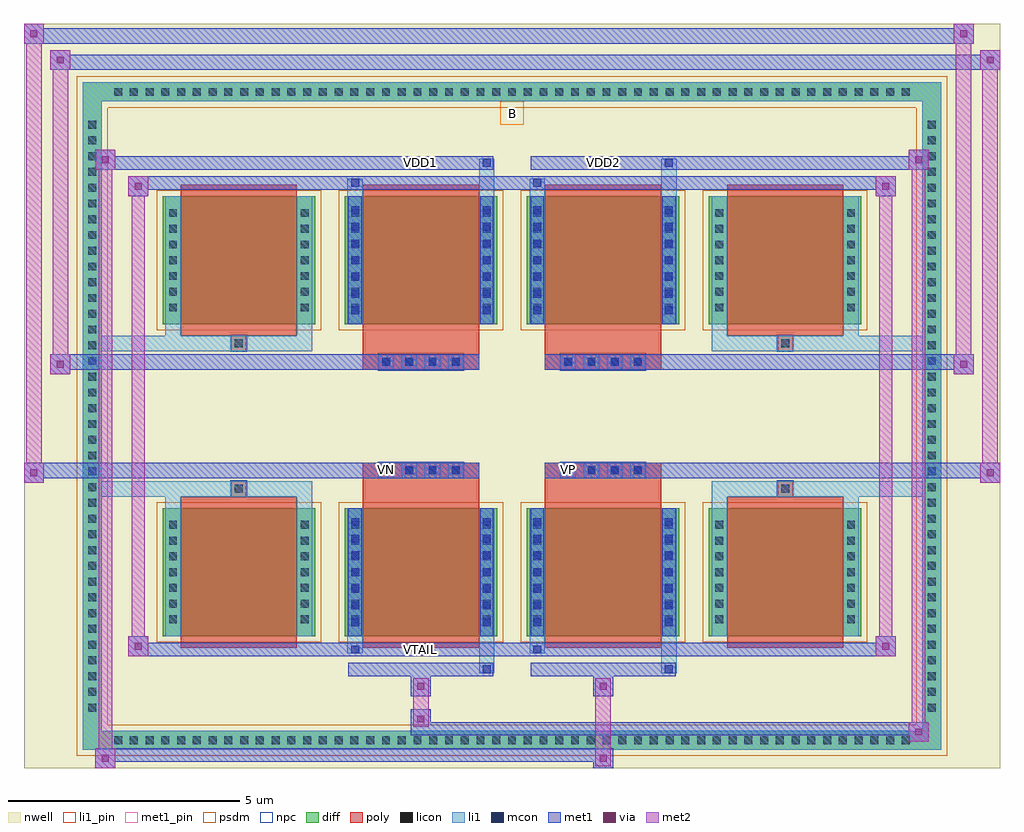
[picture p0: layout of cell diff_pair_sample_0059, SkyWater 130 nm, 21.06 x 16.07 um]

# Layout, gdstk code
import gdstk
lib = gdstk.Library(unit=1e-6, precision=5e-09)
def R(c, l, rs):  # rectangles x0, y0, x1, y1
    for r in rs: c.add(gdstk.rectangle(r[:2], r[2:], *l))
def A(c, l, x, y, w, h, nx, ny, dx, dy):  # array of equal rectangles
    R(c, l, [(x+i*dx, y+j*dy, x+i*dx+w, y+j*dy+h) for i in range(nx) for j in range(ny)])
def P(c, l, *ps):  # polygons
    for p in ps: c.add(gdstk.Polygon(p, *l))
nwell = (64, 20)
diff = (65, 20)
poly = (66, 20)
licon = (66, 44)
li1_pin = (67, 16)
li1 = (67, 20)
mcon = (67, 44)
met1_pin = (68, 16)
met1 = (68, 20)
via = (68, 44)
met2 = (69, 20)
psdm = (94, 20)
npc = (95, 20)

diff_pair_sample_0059 = lib.new_cell('diff_pair_sample_0059')
R(diff_pair_sample_0059, nwell, [(-10.53,-7.6,10.53,8.47), (-7.85,-5.79,-0.01,-0.805), (0.01,-5.79,7.85,-0.805), (-7.85,0.805,-0.01,5.79), (0.01,0.805,7.85,5.79)])
A(diff_pair_sample_0059, diff, -8.705, -7.2, 0.41, 0.41, 51, 2, 0.34, 13.99)
A(diff_pair_sample_0059, diff, -9.26, -6.495, 0.41, 0.41, 1, 38, 0, 0.34)
A(diff_pair_sample_0059, diff, 8.85, -6.495, 0.41, 0.41, 1, 38, 0, 0.34)
A(diff_pair_sample_0059, diff, -7.54, -4.745, 3.29, 2.76, 4, 2, 3.93, 6.73)
R(diff_pair_sample_0059, diff, [(-8.705,-7.2,8.705,-6.79), (-9.26,-6.495,-8.85,6.495), (8.85,-6.495,9.26,6.495), (-8.705,6.79,8.705,7.2)])
P(diff_pair_sample_0059, diff, [(9.26,7.2),(-9.26,7.2),(-9.26,-6.79),(-8.85,-6.79),(-8.85,6.79),(8.85,6.79),(8.85,-6.79),(-8.85,-6.79),(-9.26,-6.79),(-9.26,-7.2),(9.26,-7.2)])
A(diff_pair_sample_0059, poly, -7.15, -4.995, 2.51, 3.26, 4, 2, 3.93, 6.73)
A(diff_pair_sample_0059, poly, -2.88, -1.335, 0.33, 0.33, 4, 2, 0.5, 2.34)
A(diff_pair_sample_0059, poly, 1.05, -1.335, 0.33, 0.33, 4, 2, 0.5, 2.34)
R(diff_pair_sample_0059, poly, [(-6.06,-1.735,-5.73,-1.405), (-6.06,-1.735,-5.73,-1.405), (-3.22,-1.735,-0.71,-1.335), (0.71,-1.735,3.22,-1.335), (5.73,-1.735,6.06,-1.405), (5.73,-1.735,6.06,-1.405), (-3.22,-1.335,-0.71,-1.005), (0.71,-1.335,3.22,-1.005), (-3.22,1.005,-0.71,1.335), (0.71,1.005,3.22,1.335), (-3.22,1.335,-0.71,1.735), (0.71,1.335,3.22,1.735), (-6.06,1.405,-5.73,1.735), (-6.06,1.405,-5.73,1.735), (5.73,1.405,6.06,1.735), (5.73,1.405,6.06,1.735)])
A(diff_pair_sample_0059, licon, -8.585, -7.08, 0.17, 0.17, 51, 2, 0.34, 13.99)
A(diff_pair_sample_0059, licon, -9.14, -6.375, 0.17, 0.17, 1, 38, 0, 0.34)
A(diff_pair_sample_0059, licon, 8.97, -6.375, 0.17, 0.17, 1, 38, 0, 0.34)
A(diff_pair_sample_0059, licon, -7.4, -4.47, 0.17, 0.17, 1, 7, 0, 0.34)
A(diff_pair_sample_0059, licon, -4.56, -4.47, 0.17, 0.17, 1, 7, 0, 0.34)
A(diff_pair_sample_0059, licon, -3.47, -4.47, 0.17, 0.17, 1, 7, 0, 0.34)
A(diff_pair_sample_0059, licon, -0.63, -4.47, 0.17, 0.17, 1, 7, 0, 0.34)
A(diff_pair_sample_0059, licon, 0.46, -4.47, 0.17, 0.17, 1, 7, 0, 0.34)
A(diff_pair_sample_0059, licon, 3.3, -4.47, 0.17, 0.17, 1, 7, 0, 0.34)
A(diff_pair_sample_0059, licon, 4.39, -4.47, 0.17, 0.17, 1, 7, 0, 0.34)
A(diff_pair_sample_0059, licon, 7.23, -4.47, 0.17, 0.17, 1, 7, 0, 0.34)
A(diff_pair_sample_0059, licon, -2.8, -1.255, 0.17, 0.17, 4, 2, 0.5, 2.34)
A(diff_pair_sample_0059, licon, 1.13, -1.255, 0.17, 0.17, 4, 2, 0.5, 2.34)
A(diff_pair_sample_0059, licon, -7.4, 2.26, 0.17, 0.17, 1, 7, 0, 0.34)
A(diff_pair_sample_0059, licon, -4.56, 2.26, 0.17, 0.17, 1, 7, 0, 0.34)
A(diff_pair_sample_0059, licon, -3.47, 2.26, 0.17, 0.17, 1, 7, 0, 0.34)
A(diff_pair_sample_0059, licon, -0.63, 2.26, 0.17, 0.17, 1, 7, 0, 0.34)
A(diff_pair_sample_0059, licon, 0.46, 2.26, 0.17, 0.17, 1, 7, 0, 0.34)
A(diff_pair_sample_0059, licon, 3.3, 2.26, 0.17, 0.17, 1, 7, 0, 0.34)
A(diff_pair_sample_0059, licon, 4.39, 2.26, 0.17, 0.17, 1, 7, 0, 0.34)
A(diff_pair_sample_0059, licon, 7.23, 2.26, 0.17, 0.17, 1, 7, 0, 0.34)
R(diff_pair_sample_0059, licon, [(-5.98,-1.655,-5.81,-1.485), (5.81,-1.655,5.98,-1.485), (-5.98,1.485,-5.81,1.655), (5.81,1.485,5.98,1.655)])
R(diff_pair_sample_0059, li1_pin, [(-0.25,6.29,0.25,6.79)])
A(diff_pair_sample_0059, li1, -8.665, -7.16, 0.33, 0.33, 51, 2, 0.34, 13.99)
A(diff_pair_sample_0059, li1, -9.22, -6.455, 0.33, 0.33, 1, 38, 0, 0.34)
A(diff_pair_sample_0059, li1, 8.89, -6.455, 0.33, 0.33, 1, 38, 0, 0.34)
A(diff_pair_sample_0059, li1, -7.48, -4.55, 0.33, 0.33, 1, 7, 0, 0.34)
A(diff_pair_sample_0059, li1, -4.64, -4.55, 0.33, 0.33, 1, 7, 0, 0.34)
A(diff_pair_sample_0059, li1, -3.55, -4.55, 0.33, 0.33, 1, 7, 0, 0.34)
A(diff_pair_sample_0059, li1, -0.71, -4.55, 0.33, 0.33, 1, 7, 0, 0.34)
A(diff_pair_sample_0059, li1, 0.38, -4.55, 0.33, 0.33, 1, 7, 0, 0.34)
A(diff_pair_sample_0059, li1, 3.22, -4.55, 0.33, 0.33, 1, 7, 0, 0.34)
A(diff_pair_sample_0059, li1, 4.31, -4.55, 0.33, 0.33, 1, 7, 0, 0.34)
A(diff_pair_sample_0059, li1, 7.15, -4.55, 0.33, 0.33, 1, 7, 0, 0.34)
A(diff_pair_sample_0059, li1, -3.47, -4.53, 0.17, 0.17, 1, 7, 0, 0.36)
A(diff_pair_sample_0059, li1, -0.63, -4.53, 0.17, 0.17, 1, 7, 0, 0.36)
A(diff_pair_sample_0059, li1, 0.46, -4.53, 0.17, 0.17, 1, 7, 0, 0.36)
A(diff_pair_sample_0059, li1, 3.3, -4.53, 0.17, 0.17, 1, 7, 0, 0.36)
A(diff_pair_sample_0059, li1, -2.88, -1.335, 0.33, 0.33, 4, 2, 0.5, 2.34)
A(diff_pair_sample_0059, li1, 1.05, -1.335, 0.33, 0.33, 4, 2, 0.5, 2.34)
A(diff_pair_sample_0059, li1, -7.48, 2.18, 0.33, 0.33, 1, 7, 0, 0.34)
A(diff_pair_sample_0059, li1, -4.64, 2.18, 0.33, 0.33, 1, 7, 0, 0.34)
A(diff_pair_sample_0059, li1, -3.55, 2.18, 0.33, 0.33, 1, 7, 0, 0.34)
A(diff_pair_sample_0059, li1, -0.71, 2.18, 0.33, 0.33, 1, 7, 0, 0.34)
A(diff_pair_sample_0059, li1, 0.38, 2.18, 0.33, 0.33, 1, 7, 0, 0.34)
A(diff_pair_sample_0059, li1, 3.22, 2.18, 0.33, 0.33, 1, 7, 0, 0.34)
A(diff_pair_sample_0059, li1, 4.31, 2.18, 0.33, 0.33, 1, 7, 0, 0.34)
A(diff_pair_sample_0059, li1, 7.15, 2.18, 0.33, 0.33, 1, 7, 0, 0.34)
A(diff_pair_sample_0059, li1, -3.47, 2.2, 0.17, 0.17, 1, 7, 0, 0.36)
A(diff_pair_sample_0059, li1, -0.63, 2.2, 0.17, 0.17, 1, 7, 0, 0.36)
A(diff_pair_sample_0059, li1, 0.46, 2.2, 0.17, 0.17, 1, 7, 0, 0.36)
A(diff_pair_sample_0059, li1, 3.3, 2.2, 0.17, 0.17, 1, 7, 0, 0.36)
R(diff_pair_sample_0059, li1, [(-9.26,-7.2,-8.85,-6.79), (-9.26,-7.2,-8.85,-6.79), (-8.85,-7.2,8.85,-6.79), (8.85,-7.2,9.26,-6.79), (8.85,-7.2,9.26,-6.79), (-9.26,-6.79,-8.85,6.79), (8.85,-6.79,9.26,6.79), (-0.71,-5.55,-0.38,-4.745), (-0.63,-5.55,-0.46,-5.38), (3.22,-5.55,3.55,-4.745), (3.3,-5.55,3.47,-5.38), (-3.55,-5.12,-3.22,-4.745), (-3.47,-5.12,-3.3,-4.95), (0.38,-5.12,0.71,-4.745), (0.46,-5.12,0.63,-4.95), (-7.48,-4.745,-7.15,-1.985), (-4.64,-4.745,-4.31,-1.985), (-3.55,-4.745,-3.22,-1.985), (-0.71,-4.745,-0.38,-1.985), (0.38,-4.745,0.71,-1.985), (3.22,-4.745,3.55,-1.985), (4.31,-4.745,4.64,-1.985), (7.15,-4.745,7.48,-1.985), (-3.47,-4.53,-3.3,-2.2), (-0.63,-4.53,-0.46,-2.2), (0.46,-4.53,0.63,-2.2), (3.3,-4.53,3.47,-2.2), (-7.48,-1.985,-7.15,-1.405), (-4.64,-1.985,-4.31,-1.405), (4.31,-1.985,4.64,-1.405), (7.15,-1.985,7.48,-1.405), (-9.26,-1.735,-6.06,-1.405), (-7.48,-1.735,-6.06,-1.405), (-6.06,-1.735,-5.73,-1.405), (-5.73,-1.735,-4.31,-1.405), (4.31,-1.735,5.73,-1.405), (5.73,-1.735,6.06,-1.405), (5.73,-1.735,9.26,-1.405), (6.06,-1.735,7.48,-1.405), (-9.26,1.405,-6.06,1.735), (-7.48,1.405,-6.06,1.735), (-7.48,1.405,-7.15,1.985), (-6.06,1.405,-5.73,1.735), (-5.73,1.405,-4.31,1.735), (-4.64,1.405,-4.31,1.985), (4.31,1.405,5.73,1.735), (4.31,1.405,4.64,1.985), (5.73,1.405,6.06,1.735), (5.73,1.405,9.26,1.735), (6.06,1.405,7.48,1.735), (7.15,1.405,7.48,1.985), (-7.48,1.985,-7.15,4.745), (-4.64,1.985,-4.31,4.745), (-3.55,1.985,-3.22,4.745), (-0.71,1.985,-0.38,4.745), (0.38,1.985,0.71,4.745), (3.22,1.985,3.55,4.745), (4.31,1.985,4.64,4.745), (7.15,1.985,7.48,4.745), (-3.47,2.2,-3.3,4.53), (-0.63,2.2,-0.46,4.53), (0.46,2.2,0.63,4.53), (3.3,2.2,3.47,4.53), (-3.55,4.745,-3.22,5.12), (-0.71,4.745,-0.38,5.55), (0.38,4.745,0.71,5.12), (3.22,4.745,3.55,5.55), (-3.47,4.95,-3.3,5.12), (0.46,4.95,0.63,5.12), (-0.63,5.38,-0.46,5.55), (3.3,5.38,3.47,5.55), (-9.26,6.79,-8.85,7.2), (-9.26,6.79,-8.85,7.2), (-8.85,6.79,8.85,7.2), (8.85,6.79,9.26,7.2), (8.85,6.79,9.26,7.2)])
A(diff_pair_sample_0059, mcon, -3.47, -4.53, 0.17, 0.17, 1, 7, 0, 0.36)
A(diff_pair_sample_0059, mcon, -0.63, -4.53, 0.17, 0.17, 1, 7, 0, 0.36)
A(diff_pair_sample_0059, mcon, 0.46, -4.53, 0.17, 0.17, 1, 7, 0, 0.36)
A(diff_pair_sample_0059, mcon, 3.3, -4.53, 0.17, 0.17, 1, 7, 0, 0.36)
A(diff_pair_sample_0059, mcon, -2.8, -1.255, 0.17, 0.17, 4, 2, 0.5, 2.34)
A(diff_pair_sample_0059, mcon, 1.13, -1.255, 0.17, 0.17, 4, 2, 0.5, 2.34)
A(diff_pair_sample_0059, mcon, -3.47, 2.2, 0.17, 0.17, 1, 7, 0, 0.36)
A(diff_pair_sample_0059, mcon, -0.63, 2.2, 0.17, 0.17, 1, 7, 0, 0.36)
A(diff_pair_sample_0059, mcon, 0.46, 2.2, 0.17, 0.17, 1, 7, 0, 0.36)
A(diff_pair_sample_0059, mcon, 3.3, 2.2, 0.17, 0.17, 1, 7, 0, 0.36)
R(diff_pair_sample_0059, mcon, [(-0.63,-5.55,-0.46,-5.38), (3.3,-5.55,3.47,-5.38), (-3.47,-5.12,-3.3,-4.95), (0.46,-5.12,0.63,-4.95), (-3.47,4.95,-3.3,5.12), (0.46,4.95,0.63,5.12), (-0.63,5.38,-0.46,5.55), (3.3,5.38,3.47,5.55)])
R(diff_pair_sample_0059, met1_pin, [(-2.1,-5.16,-1.83,-4.89), (-2.85,-1.295,-2.58,-1.025), (1.08,-1.295,1.35,-1.025), (-2.1,5.34,-1.83,5.61), (1.83,5.34,2.1,5.61)])
A(diff_pair_sample_0059, met1, -3.53, -4.59, 0.29, 0.29, 1, 7, 0, 0.36)
A(diff_pair_sample_0059, met1, -0.69, -4.59, 0.29, 0.29, 1, 7, 0, 0.36)
A(diff_pair_sample_0059, met1, 0.4, -4.59, 0.29, 0.29, 1, 7, 0, 0.36)
A(diff_pair_sample_0059, met1, 3.24, -4.59, 0.29, 0.29, 1, 7, 0, 0.36)
A(diff_pair_sample_0059, met1, -2.86, -1.315, 0.29, 0.29, 4, 2, 0.5, 2.34)
A(diff_pair_sample_0059, met1, 1.07, -1.315, 0.29, 0.29, 4, 2, 0.5, 2.34)
A(diff_pair_sample_0059, met1, -3.53, 2.14, 0.29, 0.29, 1, 7, 0, 0.36)
A(diff_pair_sample_0059, met1, -0.69, 2.14, 0.29, 0.29, 1, 7, 0, 0.36)
A(diff_pair_sample_0059, met1, 0.4, 2.14, 0.29, 0.29, 1, 7, 0, 0.36)
A(diff_pair_sample_0059, met1, 3.24, 2.14, 0.29, 0.29, 1, 7, 0, 0.36)
R(diff_pair_sample_0059, met1, [(-8.99,-7.6,-8.56,-7.17), (1.75,-7.6,2.18,-7.17), (-8.99,-7.46,2.18,-7.17), (8.56,-7.03,8.99,-6.6), (-2.18,-6.89,8.99,-6.6), (-2.18,-6.75,-1.75,-6.32), (-2.18,-6.04,-1.75,-5.61), (1.75,-6.04,2.18,-5.61), (-3.53,-5.61,-0.4,-5.32), (-0.69,-5.61,-0.4,-5.32), (0.4,-5.61,3.53,-5.32), (3.24,-5.61,3.53,-5.32), (-8.28,-5.18,-7.85,-4.75), (-8.28,-5.18,-3.53,-4.89), (-3.53,-5.18,-3.24,-4.89), (-3.53,-5.18,-0.4,-4.89), (-0.4,-5.18,0.4,-4.89), (0.4,-5.18,0.69,-4.89), (0.4,-5.18,3.53,-4.89), (3.53,-5.18,8.28,-4.89), (7.85,-5.18,8.28,-4.75), (-3.53,-4.745,-3.24,-1.985), (-0.69,-4.745,-0.4,-1.985), (0.4,-4.745,0.69,-1.985), (3.24,-4.745,3.53,-1.985), (-10.53,-1.435,-10.1,-1.005), (10.1,-1.435,10.53,-1.005), (-10.53,-1.335,-0.71,-1.005), (-3.22,-1.335,-0.71,-1.005), (0.71,-1.335,3.22,-1.005), (0.71,-1.335,10.53,-1.005), (-9.96,0.905,-9.53,1.335), (9.53,0.905,9.96,1.335), (-9.96,1.005,-3.22,1.335), (-3.22,1.005,-0.71,1.335), (0.71,1.005,3.22,1.335), (3.22,1.005,9.96,1.335), (-3.53,1.985,-3.24,4.745), (-0.69,1.985,-0.4,4.745), (0.4,1.985,0.69,4.745), (3.24,1.985,3.53,4.745), (-8.28,4.75,-7.85,5.18), (7.85,4.75,8.28,5.18), (-8.28,4.89,-3.53,5.18), (-3.53,4.89,-3.24,5.18), (-3.53,4.89,-0.4,5.18), (-0.4,4.89,0.4,5.18), (0.4,4.89,0.69,5.18), (0.4,4.89,3.53,5.18), (3.53,4.89,8.28,5.18), (-8.99,5.32,-8.56,5.75), (-8.99,5.32,-3.53,5.61), (-3.53,5.32,-0.4,5.61), (-0.69,5.32,-0.4,5.61), (0.4,5.32,3.53,5.61), (3.24,5.32,3.53,5.61), (3.53,5.32,8.99,5.61), (8.56,5.32,8.99,5.75), (-9.96,7.47,-9.53,7.9), (-9.96,7.47,-7.85,7.8), (-7.85,7.47,7.85,7.8), (7.85,7.47,10.53,7.8), (10.1,7.47,10.53,7.9), (-10.53,8.04,-10.1,8.47), (-10.53,8.04,-7.85,8.37), (-7.85,8.04,7.85,8.37), (7.85,8.04,9.96,8.37), (9.53,8.04,9.96,8.47)])
R(diff_pair_sample_0059, via, [(-8.85,-7.46,-8.7,-7.31), (1.89,-7.46,2.04,-7.31), (8.7,-6.89,8.85,-6.74), (-2.04,-6.61,-1.89,-6.46), (-2.04,-5.9,-1.89,-5.75), (1.89,-5.9,2.04,-5.75), (-8.14,-5.04,-7.99,-4.89), (7.99,-5.04,8.14,-4.89), (-10.39,-1.295,-10.24,-1.145), (10.24,-1.295,10.39,-1.145), (-9.82,1.045,-9.67,1.195), (9.67,1.045,9.82,1.195), (-8.14,4.89,-7.99,5.04), (7.99,4.89,8.14,5.04), (-8.85,5.46,-8.7,5.61), (8.7,5.46,8.85,5.61), (-9.82,7.61,-9.67,7.76), (10.24,7.61,10.39,7.76), (-10.39,8.18,-10.24,8.33), (9.67,8.18,9.82,8.33)])
R(diff_pair_sample_0059, met2, [(-8.99,-7.6,-8.56,-7.17), (-8.92,-7.6,-8.63,5.75), (-8.63,-7.6,-8.56,-7.17), (-8.94,-7.55,-8.61,-7.22), (1.8,-7.55,2.13,-7.22), (1.8,-7.22,2.13,-5.99), (8.56,-7.03,8.99,-6.6), (8.63,-7.03,8.92,5.75), (8.92,-7.03,8.99,-6.6), (8.61,-6.98,8.94,-6.65), (-2.13,-6.7,-1.8,-6.37), (-2.13,-6.37,-1.8,-5.99), (-2.13,-5.99,-1.8,-5.66), (1.8,-5.99,2.13,-5.66), (-8.28,-5.18,-7.85,-4.75), (-8.21,-5.18,-7.92,5.18), (-7.92,-5.18,-7.85,-4.75), (7.85,-5.18,8.28,-4.75), (7.92,-5.18,8.21,5.18), (8.21,-5.18,8.28,-4.75), (-8.23,-5.13,-7.9,-4.8), (7.9,-5.13,8.23,-4.8), (-10.53,-1.435,-10.1,-1.005), (-10.48,-1.435,-10.15,8.47), (-10.15,-1.435,-10.1,-1.005), (10.1,-1.435,10.53,-1.005), (10.15,-1.435,10.48,7.9), (10.48,-1.435,10.53,-1.005), (-10.48,-1.385,-10.15,-1.055), (10.15,-1.385,10.48,-1.055), (-9.96,0.905,-9.53,1.335), (-9.91,0.905,-9.58,7.9), (-9.58,0.905,-9.53,1.335), (9.53,0.905,9.96,1.335), (9.58,0.905,9.91,8.47), (9.91,0.905,9.96,1.335), (-9.91,0.955,-9.58,1.285), (9.58,0.955,9.91,1.285), (-8.28,4.75,-7.85,5.18), (-7.92,4.75,-7.85,5.18), (7.85,4.75,8.28,5.18), (8.21,4.75,8.28,5.18), (-8.23,4.8,-7.9,5.13), (7.9,4.8,8.23,5.13), (-8.99,5.32,-8.56,5.75), (-8.63,5.32,-8.56,5.75), (8.56,5.32,8.99,5.75), (8.92,5.32,8.99,5.75), (-8.94,5.37,-8.61,5.7), (8.61,5.37,8.94,5.7), (-9.96,7.47,-9.53,7.9), (-9.58,7.47,-9.53,7.9), (10.1,7.47,10.53,7.9), (10.48,7.47,10.53,7.9), (-9.91,7.52,-9.58,7.85), (10.15,7.52,10.48,7.85), (-10.53,8.04,-10.1,8.47), (-10.15,8.04,-10.1,8.47), (9.53,8.04,9.96,8.47), (9.91,8.04,9.96,8.47), (-10.48,8.09,-10.15,8.42), (9.58,8.09,9.91,8.42)])
A(diff_pair_sample_0059, psdm, -7.67, -4.875, 3.55, 3.02, 4, 2, 3.93, 6.73)
P(diff_pair_sample_0059, psdm, [(9.39,7.33),(-9.39,7.33),(-9.39,-6.66),(-8.72,-6.66),(-8.72,6.66),(8.72,6.66),(8.72,-6.66),(-8.72,-6.66),(-9.39,-6.66),(-9.39,-7.33),(9.39,-7.33)])
A(diff_pair_sample_0059, npc, -2.9, -1.355, 0.37, 0.37, 4, 2, 0.5, 2.34)
A(diff_pair_sample_0059, npc, 1.03, -1.355, 0.37, 0.37, 4, 2, 0.5, 2.34)
R(diff_pair_sample_0059, npc, [(-6.08,-1.755,-5.71,-1.385), (5.71,-1.755,6.08,-1.385), (-2.9,-1.355,-2.03,-0.985), (-2.9,-1.355,-2.03,-0.985), (-2.4,-1.355,-1.53,-0.985), (-2.4,-1.355,-1.53,-0.985), (-1.9,-1.355,-1.03,-0.985), (-1.9,-1.355,-1.03,-0.985), (1.03,-1.355,1.9,-0.985), (1.03,-1.355,1.9,-0.985), (1.53,-1.355,2.4,-0.985), (1.53,-1.355,2.4,-0.985), (2.03,-1.355,2.9,-0.985), (2.03,-1.355,2.9,-0.985), (-2.9,0.985,-2.03,1.355), (-2.9,0.985,-2.03,1.355), (-2.4,0.985,-1.53,1.355), (-2.4,0.985,-1.53,1.355), (-1.9,0.985,-1.03,1.355), (-1.9,0.985,-1.03,1.355), (1.03,0.985,1.9,1.355), (1.03,0.985,1.9,1.355), (1.53,0.985,2.4,1.355), (1.53,0.985,2.4,1.355), (2.03,0.985,2.9,1.355), (2.03,0.985,2.9,1.355), (-6.08,1.385,-5.71,1.755), (5.71,1.385,6.08,1.755)])
diff_pair_sample_0059.add(gdstk.Label('VTAIL', (-1.965,-5.025), layer=68, texttype=5))
diff_pair_sample_0059.add(gdstk.Label('VN', (-2.715,-1.16), layer=68, texttype=5))
diff_pair_sample_0059.add(gdstk.Label('VP', (1.215,-1.16), layer=68, texttype=5))
diff_pair_sample_0059.add(gdstk.Label('B', (0,6.54), layer=67, texttype=5))
diff_pair_sample_0059.add(gdstk.Label('VDD2', (1.965,5.475), layer=68, texttype=5))
diff_pair_sample_0059.add(gdstk.Label('VDD1', (-1.965,5.475), layer=68, texttype=5))

lib.write_gds('diff_pair_sample_0059.gds')
